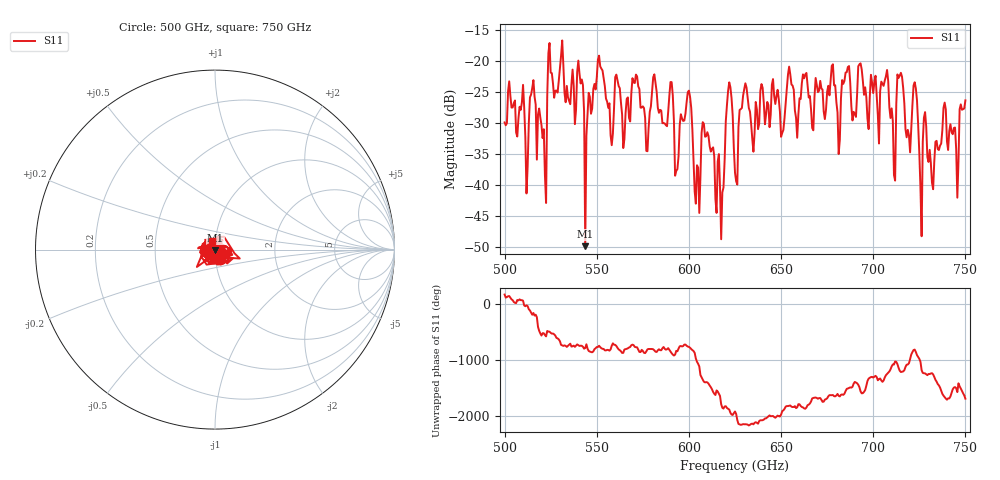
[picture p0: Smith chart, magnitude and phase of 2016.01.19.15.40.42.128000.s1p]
!Created with skrf (http://scikit-rf.org).
# GHz S RI R 50.0
!freq ReS11 ImS11
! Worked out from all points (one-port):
!   401 points, 500 GHz to 750 GHz, reference 50 ohm
!   lowest |S11| = -49.8 dB at 543.8 GHz (marker M1), VSWR 1.01, Z = 50.1 - j0.299 ohm
!   |S11| at or under -10 dB: start of sweep to end of sweep
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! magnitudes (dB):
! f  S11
! 500 GHz  -29.9
! 511.9 GHz  -41.3
! 515 GHz  -24.3
! 521.2 GHz  -31.0
! 524.4 GHz  -17.1
! 531.2 GHz  -16.7
! 541.2 GHz  -23.6
! 543.8 GHz  -49.8
! 551.2 GHz  -19.1
! 562.5 GHz  -24.4
! 590 GHz  -23.4
! 593.8 GHz  -37.4
! 600 GHz  -24.8
! 604.4 GHz  -36.8
! 608.8 GHz  -32.2
! 618.1 GHz  -41.1
! 621.9 GHz  -23.4
! 625 GHz  -38.0
! 630.6 GHz  -23.6
! 656.2 GHz  -24.0
! 687.5 GHz  -23.4
! 706.9 GHz  -22.5
! 710.6 GHz  -29.6
! 714.4 GHz  -22.3
! 718.8 GHz  -31.1
! 722.5 GHz  -23.4
! 731.9 GHz  -39.6
! 750 GHz  -26.3
